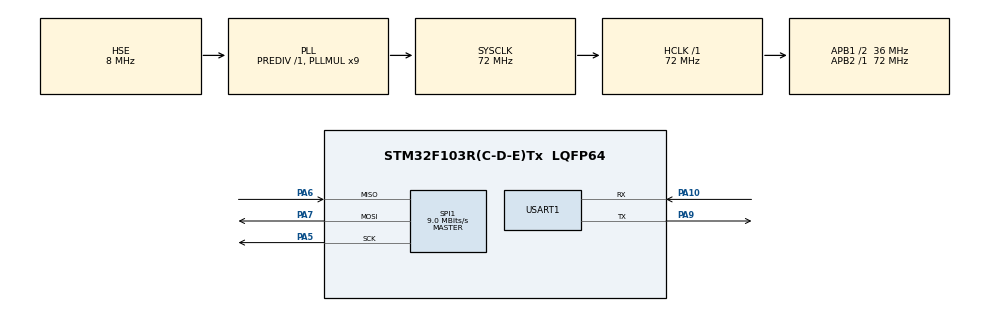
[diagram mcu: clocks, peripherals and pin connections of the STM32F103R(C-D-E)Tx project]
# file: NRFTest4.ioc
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Mcu.Family=STM32F1
Mcu.Name=STM32F103R(C-D-E)Tx
Mcu.Package=LQFP64
NVIC.PriorityGroup=NVIC_PRIORITYGROUP_4
NVIC.USART1_IRQn=true\:0\:0\:false\:false\:true\:true\:true
PA10.Mode=Asynchronous
PA10.Signal=USART1_RX
PA13.Mode=Serial_Wire
PA13.Signal=SYS_JTMS-SWDIO
PA14.Mode=Serial_Wire
PA14.Signal=SYS_JTCK-SWCLK
PA4.Signal=SPI1_NSS
PA5.Mode=Full_Duplex_Master
PA5.Signal=SPI1_SCK
PA6.GPIO_PuPd=GPIO_PULLUP
PA6.Mode=Full_Duplex_Master
PA6.Signal=SPI1_MISO
PA7.Mode=Full_Duplex_Master
PA7.Signal=SPI1_MOSI
PA9.Mode=Asynchronous
PA9.Signal=USART1_TX
PD0-OSC_IN.Mode=HSE-External-Oscillator
PD0-OSC_IN.Signal=RCC_OSC_IN
PD1-OSC_OUT.Mode=HSE-External-Oscillator
PD1-OSC_OUT.Signal=RCC_OSC_OUT
ProjectManager.HeapSize=0x200
ProjectManager.StackSize=0x400
ProjectManager.TargetToolchain=STM32CubeIDE
RCC.AHBFreq_Value=72000000
RCC.APB1CLKDivider=RCC_HCLK_DIV2
RCC.APB1Freq_Value=36000000
RCC.APB1TimFreq_Value=72000000
RCC.APB2Freq_Value=72000000
RCC.APB2TimFreq_Value=72000000
RCC.HCLKFreq_Value=72000000
RCC.PLLMUL=RCC_PLL_MUL9
RCC.PLLSourceVirtual=RCC_PLLSOURCE_HSE
RCC.SYSCLKFreq_VALUE=72000000
RCC.SYSCLKSource=RCC_SYSCLKSOURCE_PLLCLK
RCC.USBFreq_Value=72000000
SPI1.BaudRatePrescaler=SPI_BAUDRATEPRESCALER_8
SPI1.CalculateBaudRate=9.0 MBits/s
SPI1.Direction=SPI_DIRECTION_2LINES
SPI1.Mode=SPI_MODE_MASTER
SPI1.VirtualType=VM_MASTER
USART1.VirtualMode=VM_ASYNC
board=custom

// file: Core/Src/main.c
/* USER CODE BEGIN Header */
/**
 ******************************************************************************
 * @file           : main.c
 * @brief          : Main program body
 ******************************************************************************
 * @attention
 *
 * <h2><center>&copy; Copyright (c) 2020 STMicroelectronics.
 * All rights reserved.</center></h2>
 *
 * This software component is licensed by ST under BSD 3-Clause license,
 * the "License"; You may not use this file except in compliance with the
 * License. You may obtain a copy of the License at:
 *                        opensource.org/licenses/BSD-3-Clause
 *
 ******************************************************************************
 */
/* USER CODE END Header */

#include "main.h"

/* USER CODE BEGIN Includes */
#include "sys.h"
#include "delay.h"
//#include "usart.h"
#include "led.h"
#include "key.h"
#include "lcd.h"
#include "24l01.h"
/* USER CODE END Includes */

/* USER CODE BEGIN PD */

#define HEAD_LEN 2
#define HEART_BEAT (u8) 65
#define PAYLOAD (u8) 66
#define LAST (u8) 67
#define NOT_LAST (u8) 68

/* USER CODE END PD */

SPI_HandleTypeDef hspi1;

UART_HandleTypeDef huart1;

/* USER CODE BEGIN PV */
uint8_t rxBuffer[20];
u8 key, mode;
u16 t = 0;
u8 send_buf[1024];
u8 rev_buf[1024];
u8 test[20] = {HEART_BEAT, LAST, 'T', 'E', 'S', 'T', 0};
int isChanged = 0;
int isOn = 0;
//360*240 display
int display_frame_upper = 110;
int display_frame_lower = 280;
int display_frame_left = 5;
int display_frame_right = 235;
/* USER CODE END PV */

void SystemClock_Config(void);
static void MX_GPIO_Init(void);
static void MX_USART1_UART_Init(void);
static void MX_SPI1_Init(void);
/* USER CODE BEGIN PFP */
void send(void);
void receive(void);
int onAndOff(void);
/* USER CODE END PFP */

/* USER CODE BEGIN 0 */

//display power icon
int diaplay_power_icon(on){
	POINT_COLOR = BLACK;
	LCD_ShowString(display_frame_right-64,10, 36, 24, 24, "PWR");

	if (on == 1){
		LCD_Fill(display_frame_right-24,10,display_frame_right,10+24,GREEN);
	} else{
		LCD_Fill(display_frame_right-24,10,display_frame_right,10+24,RED);
	}
	LCD_DrawRectangle(display_frame_right-24,10,display_frame_right,10+24);
}

int diaplay_nrf24_status(on){
	POINT_COLOR = BLACK;
	LCD_ShowString(display_frame_right-90 ,40, 78, 24, 24, "NRF24");
	if (on == 1){
		LCD_Fill(display_frame_right-24,40,display_frame_right,40+24,GREEN);
	} else{
		LCD_Fill(display_frame_right-24,40,display_frame_right,40+24,RED);
	}
	LCD_DrawRectangle(display_frame_right-24,40,display_frame_right,40+24);
}

int diaplay_connection_status(on){
	POINT_COLOR = BLACK;
	LCD_ShowString(display_frame_right-78 ,40+6+24, 78, 24, 24, "PAIR");
	if (on == 1){
		//LCD_ShowString(30, 70, 200, 16, 16, "NRF24L01 STATUS: 1234567");
		LCD_Fill(display_frame_right-24,40+6+24,display_frame_right,40+24+6+24,GREEN);
	} else if (on ==0){
		LCD_Fill(display_frame_right-24,40+6+24,display_frame_right,40+24+6+24,RED);
	} else {
		LCD_Fill(display_frame_right-24,40+6+24,display_frame_right,40+24+6+24,YELLOW);
	}
	LCD_DrawRectangle(display_frame_right-24,40+6+24,display_frame_right,40+24+6+24);
}

/* USER CODE END 0 */

int main(void) {

	/* MCU Configuration--------------------------------------------------------*/

	/* Reset of all peripherals, Initializes the Flash interface and the Systick. */
	HAL_Init();

	/* USER CODE BEGIN Init */
	delay_init(72);
	LED_Init();
	KEY_Init();
	LCD_Init();
	NRF24L01_Init();
	/* USER CODE END Init */

	/* Configure the system clock */
	SystemClock_Config();

	/* Initialize all configured peripherals */
	MX_GPIO_Init();
	MX_USART1_UART_Init();
	MX_SPI1_Init();
	/* USER CODE BEGIN 2 */
	HAL_UART_Receive_IT(&huart1, (uint8_t*) rxBuffer, 1);

	POINT_COLOR = BLACK;
	LCD_ShowString(display_frame_left, display_frame_upper-30, 200, 24, 24, "STM32gram");
	//pwr status
	LCD_DrawRectangle(display_frame_right-24,10,display_frame_right,10+24);
	LCD_DrawRectangle(display_frame_left, display_frame_upper, display_frame_right, display_frame_lower);
	diaplay_connection_status(-1);
	/* USER CODE END 2 */

	/* Infinite loop */
	/* USER CODE BEGIN WHILE */
//	//init the pair test array
//	test[0]='T';
//	test[1]='E';
//	test[2]='S';
//	test[3]='T';
//	test[4]=0;

	POINT_COLOR = RED;
	while (NRF24L01_Check()) {
		//LCD_ShowString(30, 70, 200, 16, 16, "NRF24L01 STATUS: Error");
		diaplay_nrf24_status(0);
		//delay_ms(200);
		//LCD_Fill(30, 70, 239, 70 + 16, WHITE);
		//delay_ms(200);
	}
	POINT_COLOR = BLACK;
	diaplay_nrf24_status(1);
	diaplay_power_icon(0);
	NRF24L01_TX_Mode();
	while (1) {
		/* USER CODE END WHILE */

		/* USER CODE BEGIN 3 */
		onAndOff();
		if(isOn){
			if(isChanged){
				NRF24L01_TX_Mode();
				LED1=!LED1;
				send();
				LED1=!LED1;
				NRF24L01_RX_Mode();
			}
			receive();

			t++;
			if (t == 60000){
				NRF24L01_TX_Mode();
				LED1=!LED1;
				if(NRF24L01_TxPacket(test) != TX_OK){

					diaplay_connection_status(0);
				}else{

					diaplay_connection_status(1);
				}
				LED1=!LED1;
				NRF24L01_RX_Mode();
				t = 0;
			}
		}
	}
	/* USER CODE END 3 */
}

void SystemClock_Config(void) {
	RCC_OscInitTypeDef RCC_OscInitStruct = { 0 };
	RCC_ClkInitTypeDef RCC_ClkInitStruct = { 0 };

	/** Initializes the CPU, AHB and APB busses clocks
	 */
	RCC_OscInitStruct.OscillatorType = RCC_OSCILLATORTYPE_HSE;
	RCC_OscInitStruct.HSEState = RCC_HSE_ON;
	RCC_OscInitStruct.HSEPredivValue = RCC_HSE_PREDIV_DIV1;
	RCC_OscInitStruct.HSIState = RCC_HSI_ON;
	RCC_OscInitStruct.PLL.PLLState = RCC_PLL_ON;
	RCC_OscInitStruct.PLL.PLLSource = RCC_PLLSOURCE_HSE;
	RCC_OscInitStruct.PLL.PLLMUL = RCC_PLL_MUL9;
	if (HAL_RCC_OscConfig(&RCC_OscInitStruct) != HAL_OK) {
		Error_Handler();
	}
	/** Initializes the CPU, AHB and APB busses clocks
	 */
	RCC_ClkInitStruct.ClockType = RCC_CLOCKTYPE_HCLK | RCC_CLOCKTYPE_SYSCLK
			| RCC_CLOCKTYPE_PCLK1 | RCC_CLOCKTYPE_PCLK2;
	RCC_ClkInitStruct.SYSCLKSource = RCC_SYSCLKSOURCE_PLLCLK;
	RCC_ClkInitStruct.AHBCLKDivider = RCC_SYSCLK_DIV1;
	RCC_ClkInitStruct.APB1CLKDivider = RCC_HCLK_DIV2;
	RCC_ClkInitStruct.APB2CLKDivider = RCC_HCLK_DIV1;

	if (HAL_RCC_ClockConfig(&RCC_ClkInitStruct, FLASH_LATENCY_2) != HAL_OK) {
		Error_Handler();
	}
}

static void MX_SPI1_Init(void) {

	/* SPI1 parameter configuration*/
	hspi1.Instance = SPI1;
	hspi1.Init.Mode = SPI_MODE_MASTER;
	hspi1.Init.Direction = SPI_DIRECTION_2LINES;
	hspi1.Init.DataSize = SPI_DATASIZE_8BIT;
	hspi1.Init.CLKPolarity = SPI_POLARITY_LOW;
	hspi1.Init.CLKPhase = SPI_PHASE_1EDGE;
	hspi1.Init.NSS = SPI_NSS_SOFT;
	hspi1.Init.BaudRatePrescaler = SPI_BAUDRATEPRESCALER_8;
	hspi1.Init.FirstBit = SPI_FIRSTBIT_MSB;
	hspi1.Init.TIMode = SPI_TIMODE_DISABLE;
	hspi1.Init.CRCCalculation = SPI_CRCCALCULATION_DISABLE;
	hspi1.Init.CRCPolynomial = 10;
	if (HAL_SPI_Init(&hspi1) != HAL_OK) {
		Error_Handler();
	}

}

static void MX_USART1_UART_Init(void) {

	huart1.Instance = USART1;
	huart1.Init.BaudRate = 115200;
	huart1.Init.WordLength = UART_WORDLENGTH_8B;
	huart1.Init.StopBits = UART_STOPBITS_1;
	huart1.Init.Parity = UART_PARITY_NONE;
	huart1.Init.Mode = UART_MODE_TX_RX;
	huart1.Init.HwFlowCtl = UART_HWCONTROL_NONE;
	huart1.Init.OverSampling = UART_OVERSAMPLING_16;
	if (HAL_UART_Init(&huart1) != HAL_OK) {
		Error_Handler();
	}

}

static void MX_GPIO_Init(void) {

	/* GPIO Ports Clock Enable */
	__HAL_RCC_GPIOD_CLK_ENABLE();
	__HAL_RCC_GPIOA_CLK_ENABLE();

}

/* USER CODE BEGIN 4 */
char data[8][1024] = {{0},{0},{0},{0},{0},{0},{0},{0}};
int len[8] = {0};
int fir = 0;

//display the received data
void reload(u8* input,int isSend){
	//LCD_Fill(30, 295, 230, 295 + 16, WHITE);//NOTE clean
	//LCD_Fill(35, 135, 205, 291, WHITE);//content clean
	LCD_Fill(display_frame_left+1, display_frame_upper+1, display_frame_right-1, display_frame_lower-1, WHITE);//NOTE clean
	int ptr1 = 2;// 0
	int ptr2 = 0;
	while(input[ptr1]){
		data[fir][ptr2]=input[ptr1];
		ptr1++;
		ptr2++;
		if(ptr2==21){
			len[fir]=isSend*22;//if isSend. length == 22, receive length == -2
			fir = (fir+1)%9;
			ptr2 = 0;
		}
	}
	len[fir]=isSend*ptr2;
	fir = (fir+1)%8;

	for(int i = 0;i<8;i++){
		if(len[(fir+i)%8]>0){
			POINT_COLOR = GREEN;
			LCD_ShowString(display_frame_right-5-8*len[(fir+i)%8], display_frame_upper+5+i*20, 200, 16, 16, (uint8_t*) data[(fir+i)%8]);
		}else{
			POINT_COLOR = BLUE;
			LCD_ShowString(display_frame_left + 10, display_frame_upper+5+i*20, 200, 16, 16, (uint8_t*) data[(fir+i)%8]);
		}
	}

}

int getCommand(char* input, int length){
	if(length==3&&input[0]=='O'&&input[1]=='N'){
		if(!isOn){//already connect
			isOn = 1;
			LED0 = !LED0;
			POINT_COLOR = BLACK;
			LCD_Fill(display_frame_left+1, display_frame_upper+1, display_frame_right-1, display_frame_lower-1, WHITE);//NOTE clean
			diaplay_power_icon(1);
			NRF24L01_RX_Mode();
			return 1;
		}else{
			POINT_COLOR = RED;
			LCD_Fill(30, 295, 230, 295 + 16, WHITE);//lower banner clean
			LCD_ShowString(30, 295, 200, 16, 16, "Already ON");
			return 2;//succesfully connect
		}
	}else if(length == 4&&input[0]=='O'&&input[1]=='F'&&input[2]=='F'){
		if(isOn){
			isOn = 0;
			LED0 = !LED0;
			POINT_COLOR = BLACK;
			LCD_Fill(display_frame_left+1, display_frame_upper+1, display_frame_right-1, display_frame_lower-1, WHITE);//NOTE clean
			//LCD_Fill(30, 110, 230, 110 + 16, WHITE);//connection status
			diaplay_power_icon(0);
			NRF24L01_TX_Mode();
			LCD_Fill(display_frame_left+1, display_frame_upper+1, display_frame_right-1, display_frame_lower-1, WHITE);//NOTE clean
			fir = 0;
			for(int i =0;i<8;i++){
				len[i]=0;
				data[i][0]=0;
			}
			return 3;//successfully disconnect
		}else{
			POINT_COLOR = RED;
			LCD_Fill(30, 295, 230, 295 + 16, WHITE);
			LCD_ShowString(30, 295, 200, 16, 16, "Already OFF");
			return 4;//already disconnect
		}
	}else if(length == 6&&input[0]=='C'&&input[1]=='L'&&input[2]=='E'&&input[3]=='A'&&input[4]=='R'){
		//LCD_Fill(35, 135, 205, 291, WHITE);
		LCD_Fill(display_frame_left+1, display_frame_upper+1, display_frame_right-1, display_frame_lower-1, WHITE);//NOTE clean
		fir = 0;
		for(int i =0;i<8;i++){
		len[i]=0;
		data[i][0]=0;
		}
		return 5;
	}
	return 0;
}
void HAL_UART_RxCpltCallback(UART_HandleTypeDef *huart) {
	if (huart->Instance == USART1) {
		static unsigned char uRx_Data[1024] = { 0 };
		static unsigned char uLength = 0;
		if (rxBuffer[0] == '\n') {
			HAL_UART_Transmit(&huart1, uRx_Data, uLength, 0xffff);
			if(getCommand(uRx_Data,uLength)==0){
				if(!isOn){
					POINT_COLOR = RED;
					LCD_Fill(30, 295, 230, 295 + 16, WHITE);
					LCD_ShowString(30, 295, 200, 16, 16, "Turn on first!");
				}else{
					if(uLength + 2 > TX_PLOAD_WIDTH){
						POINT_COLOR = RED;
						LCD_Fill(30, 295, 230, 295 + 16, WHITE);
						LCD_ShowString(30, 295, 200, 16, 16, "Input <= 32!");
					}else{
						send_buf[0] = PAYLOAD;
						send_buf[1] = LAST;
						for(int i = 0;i<1024;i++){
							if(i==uLength) {
								send_buf[i + 2]=0;
								break;
							}
							send_buf[i + 2]=uRx_Data[i];
						}
						isChanged = 1;
					}
//					LCD_ShowString(30, 190, 200, 16, 16, "isChanged is 1");
				}
			}
			uLength = 0;
		} else {
			uRx_Data[uLength] = rxBuffer[0];
			uLength++;
		}
	}
}
void send() {
	if (NRF24L01_TxPacket(send_buf) == TX_OK) {
		if(isChanged){
			isChanged = 0;
			reload(&send_buf,1);
		}
	} else {
		POINT_COLOR = RED;
		LCD_Fill(30, 295, lcddev.width, 295 + 16 * 3, WHITE); //清空显示
		LCD_ShowString(30, 295, lcddev.width - 1, 32, 16, "Send Failed!");
		isChanged = 0;
	};
}
void receive(){
	if (NRF24L01_RxPacket(rev_buf) == 0) //收到信息,则显示出
	{
		if(rev_buf[0] == HEART_BEAT) {
			return;
		}
//		if(rev_buf[0]==test[0]&&rev_buf[1]==test[1]&&rev_buf[2]==test[2]&&rev_buf[3]==test[3]&&rev_buf[4] == test[4]){
//			return;
//		}
		rev_buf[1023] = 0; //加入字符串结束符
		reload(&rev_buf,-1);
	}
}
int onAndOff(){
	key = KEY_Scan(0);
	if (key == KEY0_PRES && !isOn) {
		isOn = 1;
		LED0 = !LED0;
		POINT_COLOR = BLACK;
		LCD_Fill(display_frame_left+1, display_frame_upper+1, display_frame_right-1, display_frame_lower-1, WHITE);//NOTE clean

		diaplay_power_icon(1);
		NRF24L01_RX_Mode();
		return 1;//on
	}else if(key == KEY0_PRES && isOn){
		POINT_COLOR = RED;
		LCD_Fill(30, 295, 230, 295 + 16, WHITE);
		LCD_ShowString(30, 295, 200, 16, 16, "Already ON");
		return 2;// already on
	}else if (key == KEY1_PRES && isOn) {
		isOn = 0;
		LED0 = !LED0;
		POINT_COLOR = BLACK;
		LCD_Fill(display_frame_left+1, display_frame_upper+1, display_frame_right-1, display_frame_lower-1, WHITE);//NOTE clean

		diaplay_power_icon(0);
		NRF24L01_TX_Mode();
		LCD_Fill(display_frame_left+1, display_frame_upper+1, display_frame_right-1, display_frame_lower-1, WHITE);//NOTE clean
		fir = 0;
		for(int i =0;i<8;i++){
			len[i]=0;
			data[i][0]=0;
		}
//		LCD_Fill(30, 170, 239, 170 + 16, WHITE);
		return 3;// off
	}else if(key == KEY1_PRES && !isOn){
		POINT_COLOR = RED;
		LCD_Fill(30, 295, 230, 295 + 16, WHITE);
		LCD_ShowString(30, 295, 200, 16, 16, "Already OFF");
		return 4;//already off
	}else if(key == WKUP_PRES){
		LCD_Fill(display_frame_left+1, display_frame_upper+1, display_frame_right-1, display_frame_lower-1, WHITE);//NOTE clean
		fir = 0;
		for(int i =0;i<8;i++){
			len[i]=0;
			data[i][0]=0;
		}
	}
	return 0;
}
/* USER CODE END 4 */

void Error_Handler(void) {
}

/************************ (C) COPYRIGHT STMicroelectronics *****END OF FILE****/
